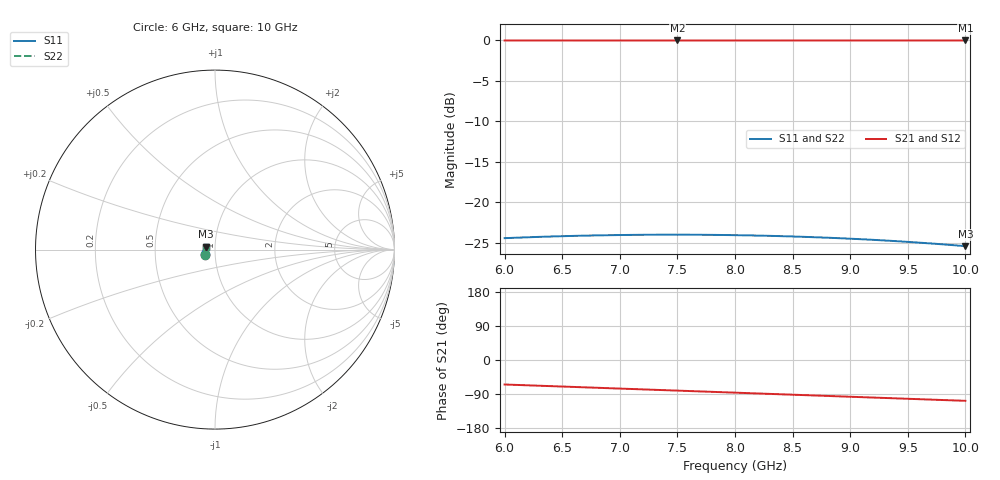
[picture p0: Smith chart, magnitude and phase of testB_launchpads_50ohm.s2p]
! Touchstone file exported from HFSS 2024.2.0
!  File:  C:/Users/artho/Documents/Ansoft/ansys_testB.aedt
!  Generated:  01:09:47 AM Sep  7, 2026
!  Design:  HFSS_8JY
!  Project:  ansys_testB
!  Setup:  Setup1
!  Solution:  Sweep1
!Data is not renormalized
! Created with skrf 2.1.0 (http://scikit-rf.org).
! Data is not renormalized
! S-parameter uses the power definition
# GHz S RI R
! Port[1] = p1
! Port[2] = p2
!freq ReS11 ImS11 ReS21 ImS21 ReS12 ImS12 ReS22 ImS22
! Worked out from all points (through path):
!   41 points, 6 GHz to 10 GHz, reference per port
!   highest |S21| = -0.01 dB at 10 GHz (marker M1); lowest = 0.0 dB at 7.5 GHz (marker M2)
!   group delay of S21, straight-line fit = 29.9 ps
!   lowest |S11| = -25.4 dB at 10 GHz (marker M3), VSWR 1.11
!   |S11| at or under -10 dB: start of sweep to end of sweep
!   |S22| runs from -25.4 to -24.0 dB; largest |S21 - S12| = 2.1e-15
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6  -0.0551 -0.0235  0.4274 -0.9021  0.4274 -0.9021  -0.0531 -0.0278
! Port Impedance 50.00000000000000 0.00000000000000 50.00000000000000 0.00000000000000
6.2  -0.0566 -0.0218  0.3932 -0.9175  0.3932 -0.9175  -0.0548 -0.0259
6.4  -0.058 -0.02  0.3585 -0.9315  0.3585 -0.9315  -0.0564 -0.024
6.7  -0.0597 -0.0172  0.3054 -0.9502  0.3054 -0.9502  -0.0585 -0.0208
6.9  -0.0606 -0.0152  0.2695 -0.961  0.2695 -0.961  -0.0597 -0.0186
7.1  -0.0614 -0.0131  0.2332 -0.9704  0.2332 -0.9704  -0.0606 -0.0162
7.4  -0.0622 -0.00987  0.1782 -0.982  0.1782 -0.982  -0.0617 -0.0126
7.5  -0.0623 -0.00877  0.1597 -0.9852  0.1597 -0.9852  -0.0619 -0.0114
7.7  -0.0625 -0.00656  0.1226 -0.9905  0.1226 -0.9905  -0.0622 -0.00888
7.8  -0.0625 -0.00545  0.104 -0.9926  0.104 -0.9926  -0.0623 -0.00763
8  -0.0624 -0.00322  0.0666 -0.9958  0.0666 -0.9958  -0.0623 -0.00512
8.2  -0.0621 -0.00101  0.0291 -0.9976  0.0291 -0.9976  -0.0621 -0.00261
8.4  -0.0616 0.00117  -0.00841 -0.9981  -0.00841 -0.9981  -0.0616 -0.000137
8.5  -0.0613 0.00225  -0.0272 -0.9977  -0.0272 -0.9977  -0.0613 0.00109
8.7  -0.0605 0.00436  -0.0647 -0.9961  -0.0647 -0.9961  -0.0606 0.00349
8.8  -0.0601 0.0054  -0.0834 -0.9947  -0.0834 -0.9947  -0.0601 0.00467
9  -0.059 0.0074  -0.1208 -0.9909  -0.1208 -0.9909  -0.059 0.00697
9.2  -0.0577 0.00932  -0.158 -0.9857  -0.158 -0.9857  -0.0578 0.00917
9.4  -0.0563 0.0111  -0.195 -0.9791  -0.195 -0.9791  -0.0563 0.0113
9.5  -0.0555 0.012  -0.2134 -0.9753  -0.2134 -0.9753  -0.0555 0.0123
9.7  -0.0539 0.0136  -0.25 -0.9667  -0.25 -0.9667  -0.0537 0.0142
10  -0.0511 0.0158  -0.3042 -0.9511  -0.3042 -0.9511  -0.0508 0.0167
